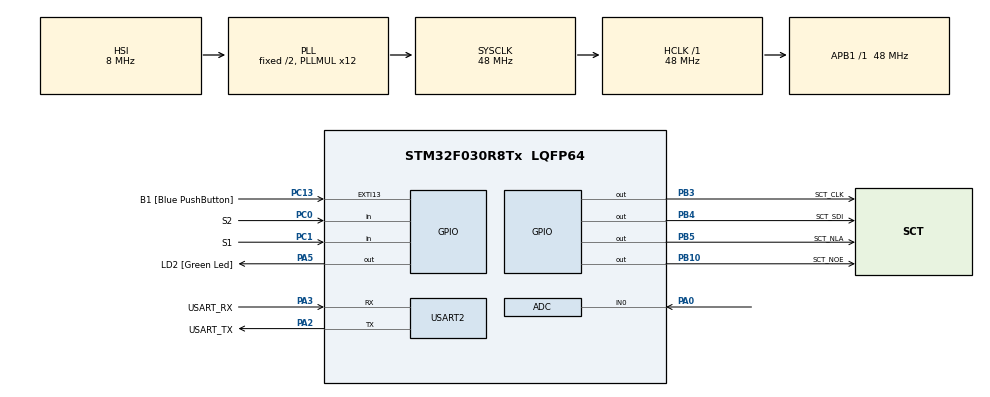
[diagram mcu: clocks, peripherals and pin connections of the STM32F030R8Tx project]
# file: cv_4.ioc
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ADC.ContinuousConvMode=ENABLE
ADC.Overrun=ADC_OVR_DATA_OVERWRITTEN
ADC.SamplingTime=ADC_SAMPLETIME_239CYCLES_5
Mcu.Family=STM32F0
Mcu.Name=STM32F030R8Tx
Mcu.Package=LQFP64
NVIC.ADC1_IRQn=true\:0\:0\:false\:false\:true\:true\:true\:true
PA0.Mode=IN0
PA0.Signal=ADC_IN0
PA13.GPIO_Label=TMS
PA13.Mode=Serial_Wire
PA13.Signal=SYS_SWDIO
PA14.GPIO_Label=TCK
PA14.Mode=Serial_Wire
PA14.Signal=SYS_SWCLK
PA2.GPIO_Label=USART_TX
PA2.GPIO_Mode=GPIO_MODE_AF_PP
PA2.GPIO_PuPd=GPIO_NOPULL
PA2.GPIO_Speed=GPIO_SPEED_FREQ_LOW
PA2.Mode=Asynchronous
PA2.Signal=USART2_TX
PA3.GPIO_Label=USART_RX
PA3.GPIO_Mode=GPIO_MODE_AF_PP
PA3.GPIO_PuPd=GPIO_NOPULL
PA3.GPIO_Speed=GPIO_SPEED_FREQ_LOW
PA3.Mode=Asynchronous
PA3.Signal=USART2_RX
PA5.GPIO_Label=LD2 [Green Led]
PA5.GPIO_Mode=GPIO_MODE_OUTPUT_PP
PA5.GPIO_PuPd=GPIO_NOPULL
PA5.GPIO_Speed=GPIO_SPEED_FREQ_LOW
PA5.Signal=GPIO_Output
PB10.GPIO_Label=SCT_NOE
PB10.Signal=GPIO_Output
PB3.GPIO_Label=SCT_CLK
PB3.Signal=GPIO_Output
PB4.GPIO_Label=SCT_SDI
PB4.Signal=GPIO_Output
PB5.GPIO_Label=SCT_NLA
PB5.Signal=GPIO_Output
PC0.GPIO_Label=S2
PC0.GPIO_PuPd=GPIO_PULLUP
PC0.Signal=GPIO_Input
PC1.GPIO_Label=S1
PC1.GPIO_PuPd=GPIO_PULLUP
PC1.Signal=GPIO_Input
PC13.GPIO_Label=B1 [Blue PushButton]
PC13.GPIO_ModeDefaultEXTI=GPIO_MODE_IT_FALLING
PC13.Signal=GPXTI13
PC14-OSC32_IN.Mode=LSE-External-Oscillator
PC14-OSC32_IN.Signal=RCC_OSC32_IN
PC15-OSC32_OUT.Mode=LSE-External-Oscillator
PC15-OSC32_OUT.Signal=RCC_OSC32_OUT
PF0-OSC_IN.Mode=HSE-External-Clock-Source
PF0-OSC_IN.Signal=RCC_OSC_IN
PF1-OSC_OUT.Signal=RCC_OSC_OUT
ProjectManager.HeapSize=0x200
ProjectManager.StackSize=0x400
ProjectManager.TargetToolchain=STM32CubeIDE
RCC.AHBFreq_Value=48000000
RCC.APB1Freq_Value=48000000
RCC.APB1TimFreq_Value=48000000
RCC.HCLKFreq_Value=48000000
RCC.PLLMUL=RCC_PLL_MUL12
RCC.SYSCLKFreq_VALUE=48000000
RCC.SYSCLKSource=RCC_SYSCLKSOURCE_PLLCLK
USART2.VirtualMode-Asynchronous=VM_ASYNC
VP_ADC_TempSens_Input.Mode=IN-TempSens
VP_ADC_Vref_Input.Mode=IN-Vrefint
board=NUCLEO-F030R8

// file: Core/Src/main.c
/* USER CODE BEGIN Header */
/**
  ******************************************************************************
  * @file           : main.c
  * @brief          : Main program body
  ******************************************************************************
  * @attention
  *
  * Copyright (c) 2022 STMicroelectronics.
  * All rights reserved.
  *
  * This software is licensed under terms that can be found in the LICENSE file
  * in the root directory of this software component.
  * If no LICENSE file comes with this software, it is provided AS-IS.
  *
  ******************************************************************************
  */
/* USER CODE END Header */
#include "main.h"

/* USER CODE BEGIN Includes */

#include "sct.h"

/* USER CODE END Includes */

/* USER CODE BEGIN PD */

#define ADC_Q 16 // defines the number of bites by which the data are supposed to be shifted
#define DISPLAY_PERIOD 50 // 50ms timeout
#define STATE_CHANGE_TIMEOUT 1000 // return back to default state after 1s

/* Temperature sensor calibration value address */
#define TEMP110_CAL_ADDR ((uint16_t*) ((uint32_t) 0x1FFFF7C2))
#define TEMP30_CAL_ADDR ((uint16_t*) ((uint32_t) 0x1FFFF7B8))
/* Internal voltage reference calibration value address */
#define VREFINT_CAL_ADDR ((uint16_t*) ((uint32_t) 0x1FFFF7BA))

/* USER CODE END PD */

ADC_HandleTypeDef hadc;

UART_HandleTypeDef huart2;

/* USER CODE BEGIN PV */

static volatile uint32_t raw_pot; // only accessible within this file (main.c), optimization forbidden
static volatile uint32_t raw_temp;
static volatile uint32_t raw_volt;
static enum { SHOW_POT, SHOW_VOLT, SHOW_TEMP } state = SHOW_POT; // state is incremented, once a corresponding button is pressed

/* USER CODE END PV */

void SystemClock_Config(void);
static void MX_GPIO_Init(void);
static void MX_USART2_UART_Init(void);
static void MX_ADC_Init(void);

/* USER CODE BEGIN 0 */

void HAL_ADC_ConvCpltCallback(ADC_HandleTypeDef* hadc)
{
	static uint8_t channel = 0;
	//raw_pot = HAL_ADC_GetValue(hadc); // writes the value from AD converter into variable raw_pot
	static uint32_t avg_pot; // for results cumulation

	switch(channel) // perform task in accordance with the channel being read from
	{
		case 0:
		{
			raw_pot = avg_pot >> ADC_Q; // ADC result cumulation - basic filtering, reduces ADC noise
			avg_pot -= raw_pot;
			avg_pot += HAL_ADC_GetValue(hadc);
			break;
		}
		case 1:
		{
			raw_temp = HAL_ADC_GetValue(hadc);
			break;
		}
		case 2:
		{
			raw_volt = HAL_ADC_GetValue(hadc);
			break;
		}
		default: break;
	}
	if (__HAL_ADC_GET_FLAG(hadc, ADC_FLAG_EOS)) channel = 0; // the EOS flag is set, when all three channels have been read
	else channel++;

}

/* USER CODE END 0 */

int main(void)
{

  /* MCU Configuration--------------------------------------------------------*/

  /* Reset of all peripherals, Initializes the Flash interface and the Systick. */
  HAL_Init();

  /* USER CODE BEGIN Init */

  sct_init();

  /* USER CODE END Init */

  /* Configure the system clock */
  SystemClock_Config();

  /* Initialize all configured peripherals */
  MX_GPIO_Init();
  MX_USART2_UART_Init();
  MX_ADC_Init();
  /* USER CODE BEGIN 2 */

  HAL_ADCEx_Calibration_Start(&hadc); // AD converter calibration
  HAL_ADC_Start_IT(&hadc); // AD converter begin operation

  /* USER CODE END 2 */

  /* Infinite loop */
  /* USER CODE BEGIN WHILE */
  while (1)
  {

	  static uint32_t lastDisplayTicks = 0;

	  if(HAL_GetTick() >= lastDisplayTicks + DISPLAY_PERIOD)
	  {
		  lastDisplayTicks = HAL_GetTick();

		  static uint32_t mapped_pot = 0;
		  static uint32_t bar_pot = 0;
		  mapped_pot = (raw_pot * 501) / 4095; // needs to be greater than 500, because the processor dumps decimal part of the result
		  bar_pot = (raw_pot * 9) / 4095; // used to determine the number of bargraph's led being lit

		  uint32_t voltage = 330 * (*VREFINT_CAL_ADDR) / raw_volt;
		  int32_t temperature = (raw_temp - (int32_t)(*TEMP30_CAL_ADDR));
		  temperature = temperature * (int32_t)(110 - 30);
		  temperature = temperature / (int32_t)(*TEMP110_CAL_ADDR - *TEMP30_CAL_ADDR);
		  temperature = temperature + 30;

		  static uint32_t state_timeout = 0;

		  if(!HAL_GPIO_ReadPin(GPIOC,S1_Pin))
		  {
			  state = SHOW_VOLT;
			  state_timeout = HAL_GetTick();
		  }
		  else if(!HAL_GPIO_ReadPin(GPIOC,S2_Pin))
		  {
			  state = SHOW_TEMP;
			  state_timeout = HAL_GetTick();
		  }
		  if(HAL_GetTick() >= STATE_CHANGE_TIMEOUT + state_timeout) state = SHOW_POT;

		  switch(state)
		  {
			  case SHOW_POT:
				  sct_value(mapped_pot, bar_pot, 0);
				  break;
			  case SHOW_VOLT:
				  sct_value(voltage, 0, 3);
				  break;
			  case SHOW_TEMP:
				  sct_value(temperature, 0, 0);
				  break;
			  default: sct_value(temperature, 0, 0);

		  }

	  }
	  //HAL_Delay(1000);

    /* USER CODE END WHILE */

  }
}

void SystemClock_Config(void)
{
  RCC_OscInitTypeDef RCC_OscInitStruct = {0};
  RCC_ClkInitTypeDef RCC_ClkInitStruct = {0};

  /** Initializes the RCC Oscillators according to the specified parameters
  * in the RCC_OscInitTypeDef structure.
  */
  RCC_OscInitStruct.OscillatorType = RCC_OSCILLATORTYPE_HSI|RCC_OSCILLATORTYPE_HSI14;
  RCC_OscInitStruct.HSIState = RCC_HSI_ON;
  RCC_OscInitStruct.HSI14State = RCC_HSI14_ON;
  RCC_OscInitStruct.HSICalibrationValue = RCC_HSICALIBRATION_DEFAULT;
  RCC_OscInitStruct.HSI14CalibrationValue = 16;
  RCC_OscInitStruct.PLL.PLLState = RCC_PLL_ON;
  RCC_OscInitStruct.PLL.PLLSource = RCC_PLLSOURCE_HSI;
  RCC_OscInitStruct.PLL.PLLMUL = RCC_PLL_MUL12;
  RCC_OscInitStruct.PLL.PREDIV = RCC_PREDIV_DIV1;
  if (HAL_RCC_OscConfig(&RCC_OscInitStruct) != HAL_OK)
  {
    Error_Handler();
  }

  /** Initializes the CPU, AHB and APB buses clocks
  */
  RCC_ClkInitStruct.ClockType = RCC_CLOCKTYPE_HCLK|RCC_CLOCKTYPE_SYSCLK
                              |RCC_CLOCKTYPE_PCLK1;
  RCC_ClkInitStruct.SYSCLKSource = RCC_SYSCLKSOURCE_PLLCLK;
  RCC_ClkInitStruct.AHBCLKDivider = RCC_SYSCLK_DIV1;
  RCC_ClkInitStruct.APB1CLKDivider = RCC_HCLK_DIV1;

  if (HAL_RCC_ClockConfig(&RCC_ClkInitStruct, FLASH_LATENCY_1) != HAL_OK)
  {
    Error_Handler();
  }
}

static void MX_ADC_Init(void)
{

  ADC_ChannelConfTypeDef sConfig = {0};

  /** Configure the global features of the ADC (Clock, Resolution, Data Alignment and number of conversion)
  */
  hadc.Instance = ADC1;
  hadc.Init.ClockPrescaler = ADC_CLOCK_ASYNC_DIV1;
  hadc.Init.Resolution = ADC_RESOLUTION_12B;
  hadc.Init.DataAlign = ADC_DATAALIGN_RIGHT;
  hadc.Init.ScanConvMode = ADC_SCAN_DIRECTION_FORWARD;
  hadc.Init.EOCSelection = ADC_EOC_SINGLE_CONV;
  hadc.Init.LowPowerAutoWait = DISABLE;
  hadc.Init.LowPowerAutoPowerOff = DISABLE;
  hadc.Init.ContinuousConvMode = ENABLE;
  hadc.Init.DiscontinuousConvMode = DISABLE;
  hadc.Init.ExternalTrigConv = ADC_SOFTWARE_START;
  hadc.Init.ExternalTrigConvEdge = ADC_EXTERNALTRIGCONVEDGE_NONE;
  hadc.Init.DMAContinuousRequests = DISABLE;
  hadc.Init.Overrun = ADC_OVR_DATA_OVERWRITTEN;
  if (HAL_ADC_Init(&hadc) != HAL_OK)
  {
    Error_Handler();
  }

  /** Configure for the selected ADC regular channel to be converted.
  */
  sConfig.Channel = ADC_CHANNEL_0;
  sConfig.Rank = ADC_RANK_CHANNEL_NUMBER;
  sConfig.SamplingTime = ADC_SAMPLETIME_239CYCLES_5;
  if (HAL_ADC_ConfigChannel(&hadc, &sConfig) != HAL_OK)
  {
    Error_Handler();
  }

  /** Configure for the selected ADC regular channel to be converted.
  */
  sConfig.Channel = ADC_CHANNEL_TEMPSENSOR;
  if (HAL_ADC_ConfigChannel(&hadc, &sConfig) != HAL_OK)
  {
    Error_Handler();
  }

  /** Configure for the selected ADC regular channel to be converted.
  */
  sConfig.Channel = ADC_CHANNEL_VREFINT;
  if (HAL_ADC_ConfigChannel(&hadc, &sConfig) != HAL_OK)
  {
    Error_Handler();
  }

}

static void MX_USART2_UART_Init(void)
{

  huart2.Instance = USART2;
  huart2.Init.BaudRate = 38400;
  huart2.Init.WordLength = UART_WORDLENGTH_8B;
  huart2.Init.StopBits = UART_STOPBITS_1;
  huart2.Init.Parity = UART_PARITY_NONE;
  huart2.Init.Mode = UART_MODE_TX_RX;
  huart2.Init.HwFlowCtl = UART_HWCONTROL_NONE;
  huart2.Init.OverSampling = UART_OVERSAMPLING_16;
  huart2.Init.OneBitSampling = UART_ONE_BIT_SAMPLE_DISABLE;
  huart2.AdvancedInit.AdvFeatureInit = UART_ADVFEATURE_NO_INIT;
  if (HAL_UART_Init(&huart2) != HAL_OK)
  {
    Error_Handler();
  }

}

static void MX_GPIO_Init(void)
{
  GPIO_InitTypeDef GPIO_InitStruct = {0};

  /* GPIO Ports Clock Enable */
  __HAL_RCC_GPIOC_CLK_ENABLE();
  __HAL_RCC_GPIOF_CLK_ENABLE();
  __HAL_RCC_GPIOA_CLK_ENABLE();
  __HAL_RCC_GPIOB_CLK_ENABLE();

  /*Configure GPIO pin Output Level */
  HAL_GPIO_WritePin(GPIOA, GPIO_PIN_5, GPIO_PIN_RESET);

  /*Configure GPIO pin Output Level */
  HAL_GPIO_WritePin(GPIOB, GPIO_PIN_10|GPIO_PIN_3|GPIO_PIN_4|GPIO_PIN_5, GPIO_PIN_RESET);

  /*Configure GPIO pin : PC13 */
  GPIO_InitStruct.Pin = GPIO_PIN_13;
  GPIO_InitStruct.Mode = GPIO_MODE_IT_FALLING;
  GPIO_InitStruct.Pull = GPIO_NOPULL;
  HAL_GPIO_Init(GPIOC, &GPIO_InitStruct);

  /*Configure GPIO pins : PC0 PC1 */
  GPIO_InitStruct.Pin = GPIO_PIN_0|GPIO_PIN_1;
  GPIO_InitStruct.Mode = GPIO_MODE_INPUT;
  GPIO_InitStruct.Pull = GPIO_PULLUP;
  HAL_GPIO_Init(GPIOC, &GPIO_InitStruct);

  /*Configure GPIO pin : PA5 */
  GPIO_InitStruct.Pin = GPIO_PIN_5;
  GPIO_InitStruct.Mode = GPIO_MODE_OUTPUT_PP;
  GPIO_InitStruct.Pull = GPIO_NOPULL;
  GPIO_InitStruct.Speed = GPIO_SPEED_FREQ_LOW;
  HAL_GPIO_Init(GPIOA, &GPIO_InitStruct);

  /*Configure GPIO pins : PB10 PB3 PB4 PB5 */
  GPIO_InitStruct.Pin = GPIO_PIN_10|GPIO_PIN_3|GPIO_PIN_4|GPIO_PIN_5;
  GPIO_InitStruct.Mode = GPIO_MODE_OUTPUT_PP;
  GPIO_InitStruct.Pull = GPIO_NOPULL;
  GPIO_InitStruct.Speed = GPIO_SPEED_FREQ_LOW;
  HAL_GPIO_Init(GPIOB, &GPIO_InitStruct);

}

void Error_Handler(void)
{
  __disable_irq();
  while (1)
  {
  }
}
